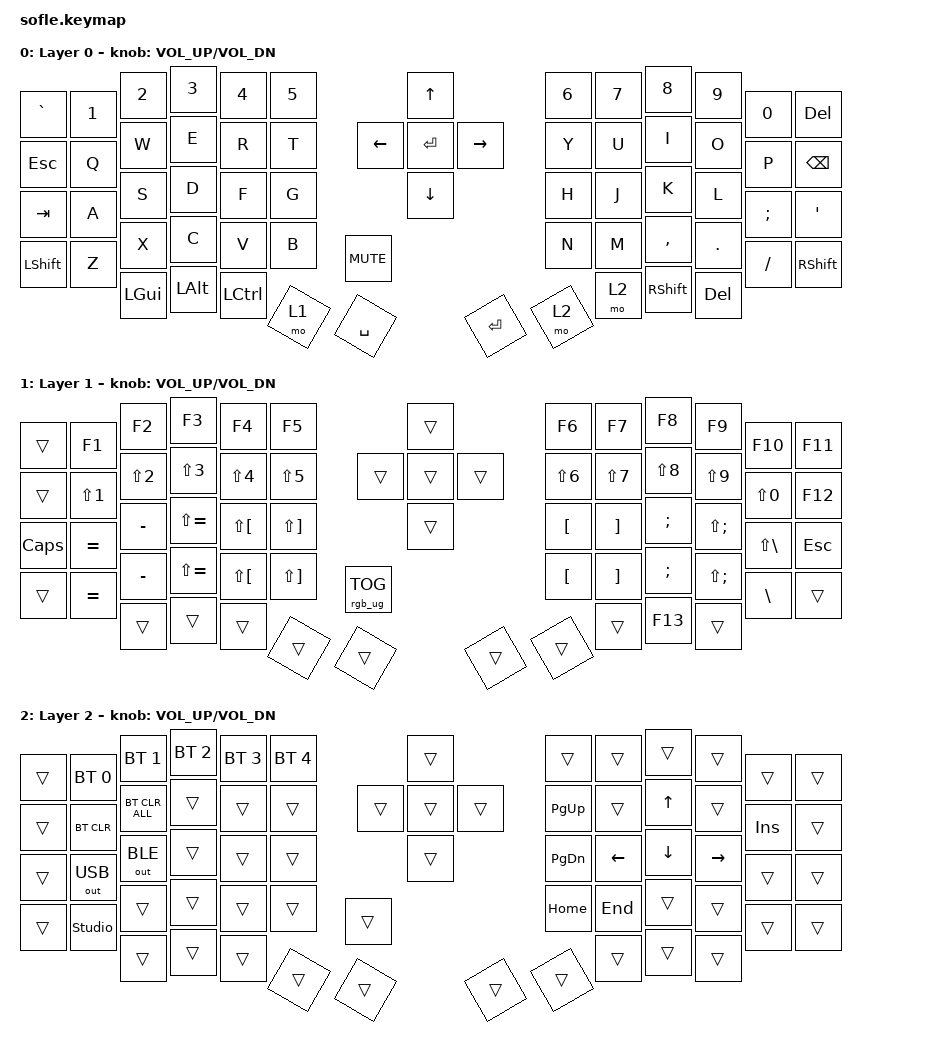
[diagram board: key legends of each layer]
#include <behaviors.dtsi>
#include <dt-bindings/zmk/bt.h>
#include <dt-bindings/zmk/keys.h>
#include <dt-bindings/zmk/outputs.h>
#include <dt-bindings/zmk/rgb.h>

/ {
    keymap {
        compatible = "zmk,keymap";

        layer0 {
            bindings = <
&kp GRAVE   &kp N1        &kp N2        &kp N3     &kp N4  &kp N5       &kp UP_ARROW     &kp N6     &kp N7  &kp N8     &kp N9           &kp N0      &kp DEL
&kp ESC     &kp Q         &kp W         &kp E      &kp R   &kp T        &kp DOWN_ARROW   &kp Y      &kp U   &kp I      &kp O            &kp P       &kp BACKSPACE
&kp TAB     &kp A         &kp S         &kp D      &kp F   &kp G        &kp LEFT_ARROW   &kp H      &kp J   &kp K      &kp L            &kp SEMI    &kp APOS
&kp LSHFT   &kp Z         &kp X         &kp C      &kp V   &kp B        &kp RIGHT_ARROW  &kp N      &kp M   &kp COMMA  &kp DOT          &kp FSLH    &kp RSHFT
&kp C_MUTE  &kp LEFT_GUI  &kp LEFT_ALT  &kp LCTRL  &mo 1   &kp SPACE    &kp ENTER        &kp ENTER  &mo 2   &mo 2      &kp RIGHT_SHIFT  &kp DELETE
            >;

            sensor-bindings = <&inc_dec_kp C_VOLUME_UP C_VOL_DN>;
            display-name = "Layer 0";
        };

        layer_1 {
            bindings = <
&trans           &kp F1      &kp F2      &kp F3         &kp F4        &kp F5          &trans  &kp F6      &kp F7      &kp F8      &kp F9        &kp F10       &kp F11
&trans           &kp LS(N1)  &kp LS(N2)  &kp LS(N3)     &kp LS(N4)    &kp LS(N5)      &trans  &kp LS(N6)  &kp LS(N7)  &kp LS(N8)  &kp LS(N9)    &kp LS(N0)    &kp F12
&kp CAPS         &kp EQUAL   &kp MINUS   &kp LS(EQUAL)  &kp LS(LBKT)  &kp LS(RBKT)    &trans  &kp LBKT    &kp RBKT    &kp SEMI    &kp LS(SEMI)  &kp LS(BSLH)  &kp ESC
&trans           &kp EQUAL   &kp MINUS   &kp LS(EQUAL)  &kp LS(LBKT)  &kp LS(RBKT)    &trans  &kp LBKT    &kp RBKT    &kp SEMI    &kp LS(SEMI)  &kp BSLH      &trans
&rgb_ug RGB_TOG  &trans      &trans      &trans         &trans        &trans          &trans  &trans      &trans      &trans      &kp F13       &trans
            >;

            sensor-bindings = <&inc_dec_kp C_VOLUME_UP C_VOL_DN>;
            display-name = "Layer 1";
        };

        layer_2 {
            bindings = <
&trans  &bt BT_SEL 0    &bt BT_SEL 1    &bt BT_SEL 2  &bt BT_SEL 3  &bt BT_SEL 4    &trans  &trans       &trans    &trans      &trans     &trans     &trans
&trans  &bt BT_CLR      &bt BT_CLR_ALL  &trans        &trans        &trans          &trans  &kp PAGE_UP  &trans    &kp UP      &trans     &kp INS    &trans
&trans  &out OUT_USB    &out OUT_BLE    &trans        &trans        &trans          &trans  &kp PG_DN    &kp LEFT  &kp DOWN    &kp RIGHT  &trans     &trans
&trans  &studio_unlock  &trans          &trans        &trans        &trans          &trans  &kp HOME     &kp END   &trans      &trans     &trans     &trans
&trans  &trans          &trans          &trans        &trans        &trans          &trans  &trans       &trans    &trans      &trans     &trans
            >;

            sensor-bindings = <&inc_dec_kp C_VOLUME_UP C_VOL_DN>;
            display-name = "Layer 2";
        };
    };
};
